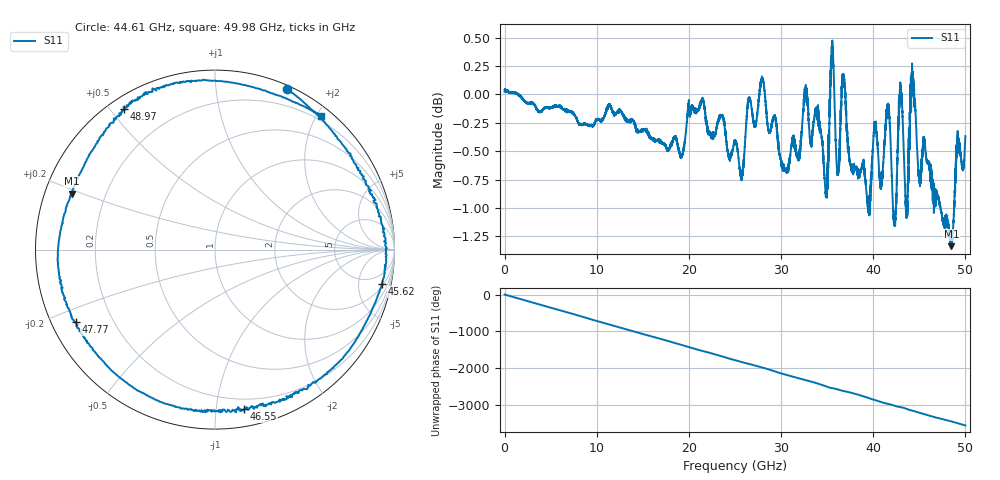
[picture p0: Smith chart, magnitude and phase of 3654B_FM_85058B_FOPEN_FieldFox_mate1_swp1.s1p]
!Created with skrf (http://scikit-rf.org).
# Hz S RI R 50.0
!freq ReS11 ImS11
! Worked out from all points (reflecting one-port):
!   10001 points, 300 kHz to 50 GHz, reference 50 ohm
!   lowest |S11| = -1.3 dB at 48.48 GHz (marker M1), VSWR 13.03, Z = 3.97 + j9.38 ohm
!   phase of S11 starts at 0 deg and turns -3550 deg over the sweep
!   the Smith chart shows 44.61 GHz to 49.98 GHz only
!   S11 on the Smith chart (normalised r, x): 44.61 GHz: 0.04, +1.55; 45.62 GHz: 2.41, -9.23; 46.55 GHz: 0.12, -1.19; 47.77 GHz: 0.07, -0.24; 48.97 GHz: 0.04, +0.55; 49.98 GHz: 0.13, +2.07
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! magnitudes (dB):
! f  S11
! 300 kHz  0.0
! 6.25 GHz  -0.1
! 12.5 GHz  -0.1
! 18.75 GHz  -0.4
! 25 GHz  -0.4
! 25.74 GHz  -0.7
! 27.95 GHz  0.1
! 31.25 GHz  -0.4
! 32.69 GHz  0.0
! 34.88 GHz  -0.9
! 35.56 GHz  0.4
! 36.11 GHz  -0.7
! 36.77 GHz  0.1
! 37.5 GHz  -0.6
! 39.48 GHz  -1.0
! 41.59 GHz  -0.1
! 42.31 GHz  -1.2
! 42.98 GHz  0.0
! 43.75 GHz  -0.8
! 44.2 GHz  0.2
! 44.61 GHz  -0.2
! 45.62 GHz  -0.5
! 46.55 GHz  -0.9
! 47.77 GHz  -1.1
! 48.48 GHz  -1.3
! 48.97 GHz  -0.6
! 49.98 GHz  -0.4
! 50 GHz  -0.4
